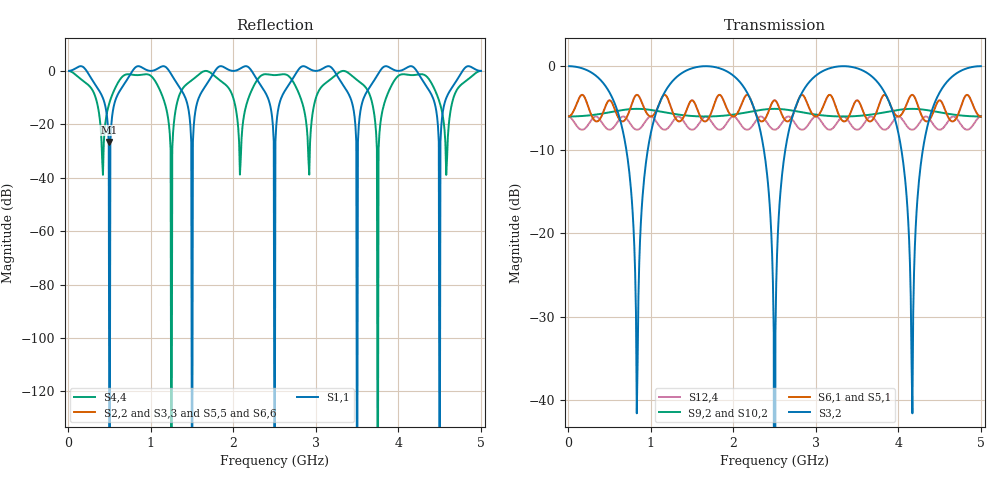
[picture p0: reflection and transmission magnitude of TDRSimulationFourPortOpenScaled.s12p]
# MHz MA S R 50.0
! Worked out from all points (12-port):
!   500 points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, 10 MHz to 5 GHz, reference 50 ohm
!   strongest paths, dB at 10 MHz, 1.26 GHz, 2.51 GHz, 3.76 GHz, 5 GHz:
!     S3,2: 0.0, -1.8, -32.0, -2.1, 0.0
!     S6,1: -6.0, -5.4, -4.1, -4.8, -6.0
!     S5,1: -6.0, -5.4, -4.1, -4.8, -6.0
!     S9,2: -6.0, -5.7, -5.1, -5.7, -6.0
!     S10,2: -6.0, -5.7, -5.1, -5.7, -6.0
!     S12,4: -6.0, -6.7, -7.6, -7.0, -6.0
!   lowest |S11| = -26.6 dB at 490 MHz (marker M1), VSWR 1.10, Z = 49.2 + j4.58 ohm
!   |S11| at or under -10 dB: 417.4 MHz to 582.6 MHz (165.2 MHz wide, 33 % of centre); 1.417 GHz to 1.583 GHz (165.2 MHz wide, 11 % of centre); 2.417 GHz to 2.583 GHz (165.2 MHz wide, 6.61 % of centre) (the widest 3 of 5)
